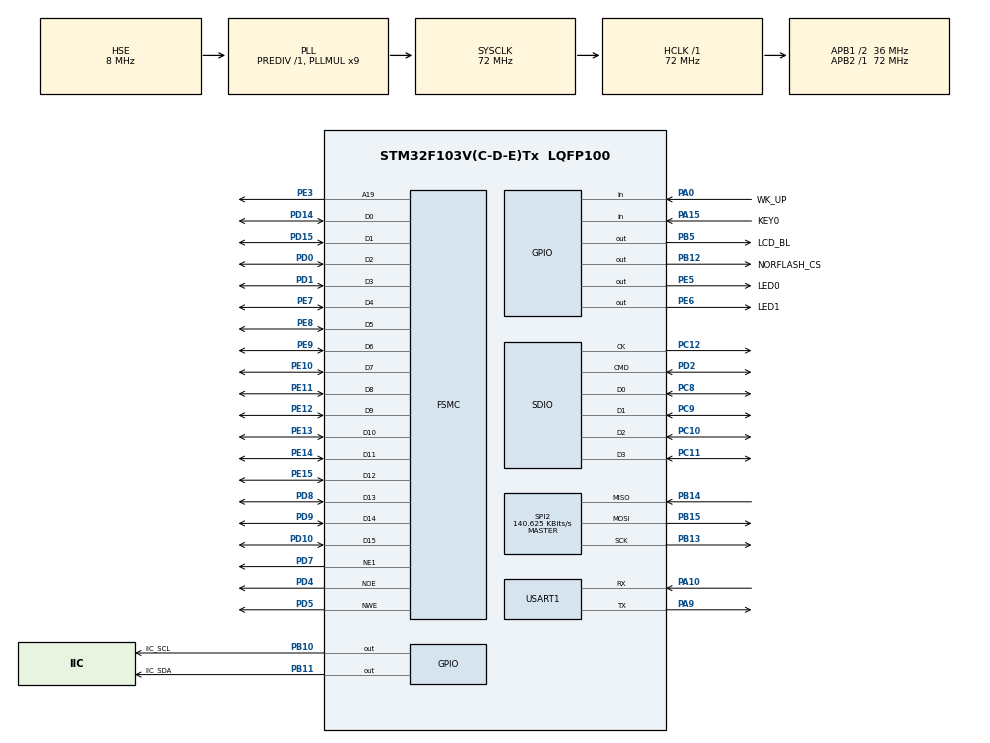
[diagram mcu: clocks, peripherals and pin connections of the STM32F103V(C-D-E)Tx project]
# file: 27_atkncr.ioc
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FATFS._CODE_PAGE=437
FATFS._USE_LABEL=1
FATFS._USE_LFN=3
FATFS._VOLUMES=2
FSMC.AddressSetupTime1=0
FSMC.DataSetupTime1=15
FSMC.ExtendedAddressSetupTime1=0
FSMC.ExtendedDataSetupTime1=1
FSMC.ExtendedMode1=FSMC_EXTENDED_MODE_ENABLE
Mcu.Family=STM32F1
Mcu.Name=STM32F103V(C-D-E)Tx
Mcu.Package=LQFP100
NVIC.PriorityGroup=NVIC_PRIORITYGROUP_2
NVIC.TIM4_IRQn=true\:2\:1\:true\:false\:true\:true\:true\:true
NVIC.USART1_IRQn=true\:2\:2\:true\:false\:true\:true\:true\:true
OSC_IN.Mode=HSE-External-Oscillator
OSC_IN.Signal=RCC_OSC_IN
OSC_OUT.Mode=HSE-External-Oscillator
OSC_OUT.Signal=RCC_OSC_OUT
PA0-WKUP.GPIO_Label=WK_UP
PA0-WKUP.GPIO_PuPd=GPIO_PULLDOWN
PA0-WKUP.Signal=GPIO_Input
PA10.Mode=Asynchronous
PA10.Signal=USART1_RX
PA13.Mode=Serial_Wire
PA13.Signal=SYS_JTMS-SWDIO
PA14.Mode=Serial_Wire
PA14.Signal=SYS_JTCK-SWCLK
PA15.GPIO_Label=KEY0
PA15.GPIO_PuPd=GPIO_PULLDOWN
PA15.Signal=GPIO_Input
PA9.Mode=Asynchronous
PA9.Signal=USART1_TX
PB10.GPIO_Label=IIC_SCL
PB10.GPIO_PuPd=GPIO_PULLUP
PB10.GPIO_Speed=GPIO_SPEED_FREQ_HIGH
PB10.PinState=GPIO_PIN_SET
PB10.Signal=GPIO_Output
PB11.GPIO_Label=IIC_SDA
PB11.GPIO_ModeDefaultOutputPP=GPIO_MODE_OUTPUT_PP
PB11.GPIO_PuPd=GPIO_PULLUP
PB11.GPIO_Speed=GPIO_SPEED_FREQ_HIGH
PB11.PinState=GPIO_PIN_SET
PB11.Signal=GPIO_Output
PB12.GPIO_Label=NORFLASH_CS
PB12.GPIO_PuPd=GPIO_PULLUP
PB12.GPIO_Speed=GPIO_SPEED_FREQ_HIGH
PB12.PinState=GPIO_PIN_SET
PB12.Signal=GPIO_Output
PB13.Mode=Full_Duplex_Master
PB13.Signal=SPI2_SCK
PB14.Mode=Full_Duplex_Master
PB14.Signal=SPI2_MISO
PB15.Mode=Full_Duplex_Master
PB15.Signal=SPI2_MOSI
PB5.GPIO_Label=LCD_BL
PB5.GPIO_PuPd=GPIO_PULLUP
PB5.GPIO_Speed=GPIO_SPEED_FREQ_HIGH
PB5.PinState=GPIO_PIN_SET
PB5.Signal=GPIO_Output
PC10.Mode=SD_4_bits_Wide_bus
PC10.Signal=SDIO_D2
PC11.Mode=SD_4_bits_Wide_bus
PC11.Signal=SDIO_D3
PC12.Mode=SD_4_bits_Wide_bus
PC12.Signal=SDIO_CK
PC14-OSC32_IN.Mode=LSE-External-Oscillator
PC14-OSC32_IN.Signal=RCC_OSC32_IN
PC15-OSC32_OUT.Mode=LSE-External-Oscillator
PC15-OSC32_OUT.Signal=RCC_OSC32_OUT
PC8.Mode=SD_4_bits_Wide_bus
PC8.Signal=SDIO_D0
PC9.Mode=SD_4_bits_Wide_bus
PC9.Signal=SDIO_D1
PD0.Mode=16b-d1
PD0.Signal=FSMC_D2
PD1.Mode=16b-d1
PD1.Signal=FSMC_D3
PD10.Mode=16b-d1
PD10.Signal=FSMC_D15
PD14.Mode=16b-d1
PD14.Signal=FSMC_D0
PD15.Mode=16b-d1
PD15.Signal=FSMC_D1
PD2.Mode=SD_4_bits_Wide_bus
PD2.Signal=SDIO_CMD
PD4.Mode=Lcd1
PD4.Signal=FSMC_NOE
PD5.Mode=Lcd1
PD5.Signal=FSMC_NWE
PD7.Mode=NorPsramChipSelect1_1
PD7.Signal=FSMC_NE1
PD8.Mode=16b-d1
PD8.Signal=FSMC_D13
PD9.Mode=16b-d1
PD9.Signal=FSMC_D14
PE10.Mode=16b-d1
PE10.Signal=FSMC_D7
PE11.Mode=16b-d1
PE11.Signal=FSMC_D8
PE12.Mode=16b-d1
PE12.Signal=FSMC_D9
PE13.Mode=16b-d1
PE13.Signal=FSMC_D10
PE14.Mode=16b-d1
PE14.Signal=FSMC_D11
PE15.Mode=16b-d1
PE15.Signal=FSMC_D12
PE3.Mode=A19_1
PE3.Signal=FSMC_A19
PE5.GPIO_Label=LED0
PE5.GPIO_PuPd=GPIO_PULLUP
PE5.GPIO_Speed=GPIO_SPEED_FREQ_HIGH
PE5.PinState=GPIO_PIN_SET
PE5.Signal=GPIO_Output
PE6.GPIO_Label=LED1
PE6.GPIO_PuPd=GPIO_PULLUP
PE6.GPIO_Speed=GPIO_SPEED_FREQ_HIGH
PE6.PinState=GPIO_PIN_SET
PE6.Signal=GPIO_Output
PE7.Mode=16b-d1
PE7.Signal=FSMC_D4
PE8.Mode=16b-d1
PE8.Signal=FSMC_D5
PE9.Mode=16b-d1
PE9.Signal=FSMC_D6
ProjectManager.HeapSize=0x1000
ProjectManager.StackSize=0x400
ProjectManager.TargetToolchain=STM32CubeIDE
RCC.AHBFreq_Value=72000000
RCC.APB1CLKDivider=RCC_HCLK_DIV2
RCC.APB1Freq_Value=36000000
RCC.APB1TimFreq_Value=72000000
RCC.APB2Freq_Value=72000000
RCC.APB2TimFreq_Value=72000000
RCC.HCLKFreq_Value=72000000
RCC.PLLMUL=RCC_PLL_MUL9
RCC.PLLSourceVirtual=RCC_PLLSOURCE_HSE
RCC.SYSCLKFreq_VALUE=72000000
RCC.SYSCLKSource=RCC_SYSCLKSOURCE_PLLCLK
RCC.USBFreq_Value=72000000
SDIO.ClockDiv=0x06
SDIO.HardwareFlowControl=SDIO_HARDWARE_FLOW_CONTROL_ENABLE
SPI2.BaudRatePrescaler=SPI_BAUDRATEPRESCALER_256
SPI2.CLKPhase=SPI_PHASE_2EDGE
SPI2.CLKPolarity=SPI_POLARITY_HIGH
SPI2.CalculateBaudRate=140.625 KBits/s
SPI2.Direction=SPI_DIRECTION_2LINES
SPI2.Mode=SPI_MODE_MASTER
SPI2.VirtualType=VM_MASTER
TIM4.AutoReloadPreload=TIM_AUTORELOAD_PRELOAD_ENABLE
TIM4.Period=1000-1
TIM4.Prescaler=7200-1
USART1.VirtualMode=VM_ASYNC
VP_FATFS_VS_Generic.Mode=User_defined
VP_TIM4_VS_ClockSourceINT.Mode=Internal
board=custom

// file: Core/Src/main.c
/* USER CODE BEGIN Header */
/**
 ****************************************************************************************************
 * @file        main.c
 * @author      ALIENTEK
 * @brief       Handwriting Recognition code
 * @license     Copyright (C) 2012-2024, ALIENTEK
 ****************************************************************************************************
 * @attention
 *
 * platform     : ALIENTEK M100-STM32F103 board
 * website      : www.alientek.com
 * forum        : www.openedv.com/forum.php
 *
 * change logs  :
 * version      data         notes
 * V1.0         20240409     the first version
 *
 ****************************************************************************************************
 */
/* USER CODE END Header */
#include "main.h"
#include "fatfs.h"
#include "sdio.h"
#include "spi.h"
#include "tim.h"
#include "usart.h"
#include "gpio.h"
#include "fsmc.h"

/* USER CODE BEGIN Includes */
#include "../../ATK_Middlewares/MALLOC/malloc.h"
#include "../../BSP/LED/led.h"
#include "../../BSP/KEY/key.h"
#include "../../BSP/LCD/lcd.h"
#include "../../BSP/DELAY/delay.h"
#include "../../BSP/TOUCH/touch.h"
#include "../../FatFs/exfuns/exfuns.h"
#include "../../ATK_Middlewares/MALLOC/malloc.h"
#include "../../ATK_Middlewares/ATKNCR/atk_ncr.h"
#include "ff.h"
/* USER CODE END Includes */

/* USER CODE BEGIN PTD */
/* Maximum number of recorded trajectory points (input data) */
atk_ncr_point ncr_input_buf[200];
/* USER CODE END PTD */

void SystemClock_Config(void);

/* USER CODE BEGIN 0 */
/**
 * @brief   Displays information about the experiment
 * @param   None
 * @retval  None
 */
void stm32f103ve_show_mesg(void)
{
	/* The serial port outputs the experimental information */
	printf("\n");
	printf("********************************\r\n");
	printf("STM32F103\r\n");
	printf("ATKNCR Test\r\n");
	printf("ATOM@ALIENTEK\r\n");
	printf("********************************\r\n");
	printf("\r\n");
}

/**
 * @brief Draw the thick line
 * @param   x1    : The x-coordinate of the starting point
 * @param   y1    : The Y coordinate of the starting point
 * @param   x2    : The x-coordinate of the endpoint
 * @param   y2    : The endpoint y-coordinate
 * @param   size  : The thickness of the line
 * @param   color : The color of the line
 * @retval  None
 */
static void lcd_draw_bline(uint16_t x1, uint16_t y1, uint16_t x2, uint16_t y2, uint8_t size, uint16_t color)
{
    uint16_t t;
    int xerr = 0;
    int yerr = 0;
    int delta_x;
    int delta_y;
    int distance;
    int incx;
    int incy;
    int row;
    int col;

    if ((x1 < size) || (x2 < size) || (y1 < size) || (y2 < size))
    {
        return;
    }

    /* Calculating coordinate increments */
    delta_x = x2 - x1;
    delta_y = y2 - y1;
    row = x1;
    col = y1;

    /* Set the horizontal step direction */
    if (delta_x > 0)
    {

        incx = 1;
    }
    else if (delta_x == 0)
    {
        incx = 0;
    }
    else
    {
        incx = -1;
        delta_x = -delta_x;
    }

    /* Sets the vertical single-step direction */
    if (delta_y > 0)
    {
        incy = 1;
    }
    else if (delta_y == 0)
    {
        incy = 0;
    }
    else
    {
        incy = -1;
        delta_y = -delta_y;
    }

    /* Select the basic increment axis */
    if (delta_x > delta_y)
    {
        distance = delta_x;
    }
    else
    {
        distance = delta_y;
    }

    /* Draw line */
    for (t=0; t<=(distance + 1); t++)
    {
        lcd_fill_circle(row, col, size, color);
        xerr += delta_x;
        yerr += delta_y;

        if (xerr > distance)
        {
            xerr -= distance;
            row += incx;
        }

        if (yerr > distance)
        {
            yerr -= distance;
            col += incy;
        }
    }
}
/* USER CODE END 0 */

int main(void)
{
  /* USER CODE BEGIN 1 */
  uint32_t t = 0;
  uint8_t tcnt;
  uint8_t key;
  uint8_t mode = 4;
  uint16_t lastpos[2];
  uint16_t pcnt = 0;
  char sbuf[10];
  /* USER CODE END 1 */

  /* MCU Configuration--------------------------------------------------------*/

  /* Reset of all peripherals, Initializes the Flash interface and the Systick. */
  HAL_Init();

  /* Configure the system clock */
  SystemClock_Config();

  /* Initialize all configured peripherals */
  MX_GPIO_Init();
  MX_USART1_UART_Init();
  MX_FSMC_Init();
  MX_TIM4_Init();
  MX_SDIO_SD_Init();
  MX_SPI2_Init();
  MX_FATFS_Init();
  /* USER CODE BEGIN 2 */
  lcd_init();                         /* Initialize LCD */
  tp_dev.init();                      /* Initialize Touch */
  my_mem_init(SRAMIN);                /* Initialize the internal SRAM memory pool */
  exfuns_init();                      /* Request memory for exfuns */
  f_mount(fs[0], "0:", 1);            /* Mount SD card */
  f_mount(fs[1], "1:", 1);            /* Mount NOR Flash */
  alientek_ncr_init();                /* Initialize handwriting recognition */
  stm32f103ve_show_mesg();

RESTART:
  lcd_show_string(30, 10, 200, 16, 16, "STM32", RED);
  lcd_show_string(30, 30, 200, 16, 16, "ATKNCR TEST", RED);
  lcd_show_string(30, 50, 200, 16, 16, "ATOM@ALIENTEK", RED);
  lcd_show_string(30, 70, 200, 16, 16, "WKUP: Adjust KEY0: Mode", RED);
  lcd_show_string(30, 90, 200, 16, 16, "Identify the result:", RED);

  lcd_draw_rectangle(19, 110, lcddev.width - 20, lcddev.height - 5, RED);
  lcd_show_string(96, 130, 200, 16, 16, "Handwriting area", BLUE);
  tcnt = 100;
  /* USER CODE END 2 */

  /* Infinite loop */
  /* USER CODE BEGIN WHILE */
  while (1)
  {
	  key = key_scan(0);
	  if (key == WKUP_PRES)
	  {
	      /* Touch calibration of capacitive screen */
	      if ((tp_dev.touchtype & 0x80) == 0)
	      {
	         tp_adjust();
	         goto RESTART;
	      }
	  }
	  else if (key == KEY0_PRES)
	  {
	      /* Switch recognition mode */
	      lcd_fill(20, 115, 219, 315, WHITE);
	      tcnt = 100;
	      if (++mode > 4)
	      {
	         mode = 1;
	      }

	      if (mode == 1)
	      {
	        lcd_show_string(80, 207, 200, 16, 16, "Recognize digits only", BLUE);
	      }
	      else if (mode == 2)
	      {
            lcd_show_string(64, 207, 200, 16, 16, "Recognize capital letters only", BLUE);
	      }
	      else if (mode == 3)
	      {
	        lcd_show_string(64, 207, 200, 16, 16, "Lowercase letters only", BLUE);
	      }
	      else if (mode == 4)
	      {
	        lcd_show_string(88, 207, 200, 16, 16, "All recognition", BLUE);
	      }
	  }

	  tp_dev.scan(0);
	  if (tp_dev.sta & TP_PRES_DOWN)
	  {
	      /* There are touches, and the touch trace is displayed and recorded */
	      tcnt = 0;

	      if (((tp_dev.x[0] < (lcddev.width - 20 - 2)) && (tp_dev.x[0] >= (20 + 2))) &&
	           ((tp_dev.y[0] < (lcddev.height - 5 - 2)) && (tp_dev.y[0] >= (115 + 2))))
	      {
	          if (lastpos[0] == 0xFFFF)
	          {
	              lastpos[0] = tp_dev.x[0];
	              lastpos[1] = tp_dev.y[0];
	          }

	          lcd_draw_bline(lastpos[0], lastpos[1], tp_dev.x[0], tp_dev.y[0], 2, BLUE);
	          lastpos[0] = tp_dev.x[0];
	          lastpos[1] = tp_dev.y[0];
	          if (pcnt < 200)
	          {
	              if (pcnt != 0)
	              {
	                  if ((ncr_input_buf[pcnt - 1].y != tp_dev.y[0]) &&
	                      (ncr_input_buf[pcnt - 1].x != tp_dev.x[0]))
	                  {
	                      ncr_input_buf[pcnt].x = tp_dev.x[0];
	                      ncr_input_buf[pcnt].y = tp_dev.y[0];
	                      pcnt++;
	                  }
	              }
	              else
	              {
	                  ncr_input_buf[pcnt].x = tp_dev.x[0];
	                  ncr_input_buf[pcnt].y = tp_dev.y[0];
	                  pcnt++;
	              }
	          }
	      }
	   }
	   else
	   {
	       /* The touch is released for handwriting recognition */
	       lastpos[0] = 0xFFFF;
	       tcnt++;
	       if (tcnt == 40)
	       {
	          if (pcnt != 0)
	          {
	              printf("Total points:%d\r\n", pcnt);
	              alientek_ncr(ncr_input_buf, pcnt, 6, mode, sbuf);
	              printf("identify the result:%s\r\n", sbuf);
	              pcnt = 0;
	               lcd_show_string(60 + 72, 90, 200, 16, 16, sbuf, BLUE);
	           }
	           lcd_fill(20, 115, lcddev.width - 20 - 1, lcddev.height - 5 - 1, WHITE);
	       }
	    }

	t++;
	if (t % 20 == 0)
	{
	   LED0_TOGGLE(); /* flashing LED0 indicates that the system is running */
	}

	HAL_Delay(10);    /* delay 10ms */
    /* USER CODE END WHILE */

  }
}

void SystemClock_Config(void)
{
  RCC_OscInitTypeDef RCC_OscInitStruct = {0};
  RCC_ClkInitTypeDef RCC_ClkInitStruct = {0};

  /** Initializes the RCC Oscillators according to the specified parameters
  * in the RCC_OscInitTypeDef structure.
  */
  RCC_OscInitStruct.OscillatorType = RCC_OSCILLATORTYPE_HSE;
  RCC_OscInitStruct.HSEState = RCC_HSE_ON;
  RCC_OscInitStruct.HSEPredivValue = RCC_HSE_PREDIV_DIV1;
  RCC_OscInitStruct.HSIState = RCC_HSI_ON;
  RCC_OscInitStruct.PLL.PLLState = RCC_PLL_ON;
  RCC_OscInitStruct.PLL.PLLSource = RCC_PLLSOURCE_HSE;
  RCC_OscInitStruct.PLL.PLLMUL = RCC_PLL_MUL9;
  if (HAL_RCC_OscConfig(&RCC_OscInitStruct) != HAL_OK)
  {
    Error_Handler();
  }

  /** Initializes the CPU, AHB and APB buses clocks
  */
  RCC_ClkInitStruct.ClockType = RCC_CLOCKTYPE_HCLK|RCC_CLOCKTYPE_SYSCLK
                              |RCC_CLOCKTYPE_PCLK1|RCC_CLOCKTYPE_PCLK2;
  RCC_ClkInitStruct.SYSCLKSource = RCC_SYSCLKSOURCE_PLLCLK;
  RCC_ClkInitStruct.AHBCLKDivider = RCC_SYSCLK_DIV1;
  RCC_ClkInitStruct.APB1CLKDivider = RCC_HCLK_DIV2;
  RCC_ClkInitStruct.APB2CLKDivider = RCC_HCLK_DIV1;

  if (HAL_RCC_ClockConfig(&RCC_ClkInitStruct, FLASH_LATENCY_2) != HAL_OK)
  {
    Error_Handler();
  }
}

void Error_Handler(void)
{
  __disable_irq();
  while (1)
  {
  }
}
